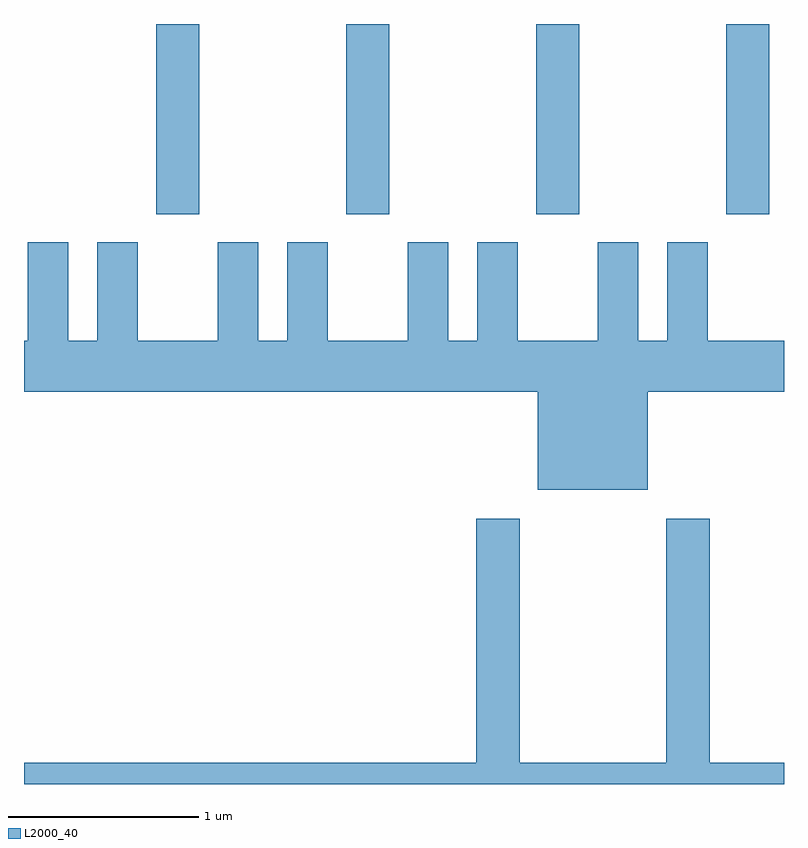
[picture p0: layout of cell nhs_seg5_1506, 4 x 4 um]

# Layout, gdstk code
import gdstk
lib = gdstk.Library(unit=1e-6, precision=1e-09)
def R(c, l, rs):  # rectangles x0, y0, x1, y1
    for r in rs: c.add(gdstk.rectangle(r[:2], r[2:], *l))
def A(c, l, x, y, w, h, nx, ny, dx, dy):  # array of equal rectangles
    R(c, l, [(x+i*dx, y+j*dy, x+i*dx+w, y+j*dy+h) for i in range(nx) for j in range(ny)])
def P(c, l, *ps):  # polygons
    for p in ps: c.add(gdstk.Polygon(p, *l))
L2000_40 = (2000, 40)

nhs_seg5_1506 = lib.new_cell('nhs_seg5_1506')
A(nhs_seg5_1506, L2000_40, 230.306, 1451.071, 0.228, 1.001, 4, 1, 1, 0)
P(nhs_seg5_1506, L2000_40, [(232.894,1450.136),(233.611,1450.136),(233.611,1450.404),(233.209,1450.404),(233.209,1450.924),(232.996,1450.924),(232.996,1450.404),(232.844,1450.404),(232.844,1450.924),(232.631,1450.924),(232.631,1450.404),(232.209,1450.404),(232.209,1450.924),(231.996,1450.924),(231.996,1450.404),(231.844,1450.404),(231.844,1450.924),(231.631,1450.924),(231.631,1450.404),(231.209,1450.404),(231.209,1450.924),(230.996,1450.924),(230.996,1450.404),(230.844,1450.404),(230.844,1450.924),(230.631,1450.924),(230.631,1450.404),(230.209,1450.404),(230.209,1450.924),(229.996,1450.924),(229.996,1450.404),(229.844,1450.404),(229.844,1450.924),(229.631,1450.924),(229.631,1450.404),(229.611,1450.404),(229.611,1450.136),(232.316,1450.136),(232.316,1449.621),(232.894,1449.621)],
  [(233.611,1448.184),(233.219,1448.184),(233.219,1449.469),(232.991,1449.469),(232.991,1448.184),(232.219,1448.184),(232.219,1449.469),(231.991,1449.469),(231.991,1448.184),(229.611,1448.184),(229.611,1448.072),(233.611,1448.072)])

lib.write_gds('nhs_seg5_1506.gds')
